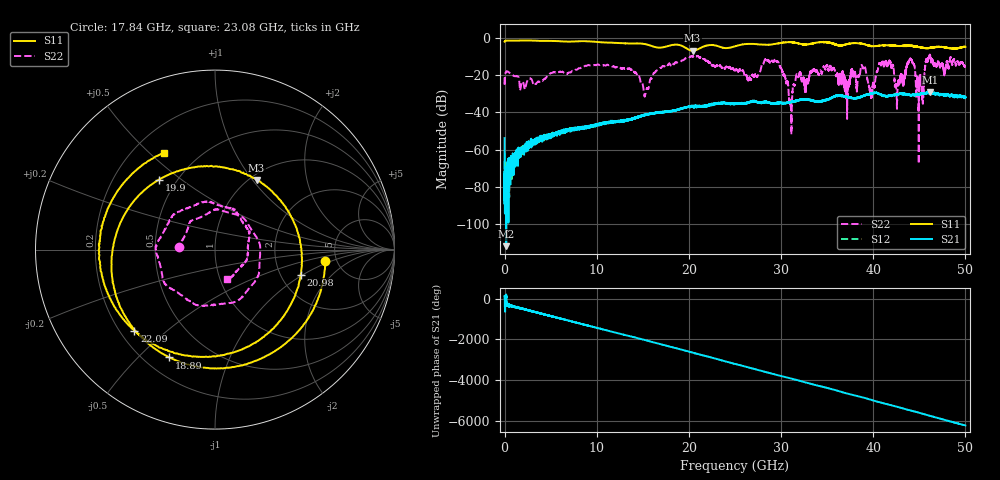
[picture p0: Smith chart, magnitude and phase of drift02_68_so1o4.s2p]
!Created with skrf (http://scikit-rf.org).
# Hz S RI R 50.0
!freq ReS11 ImS11 ReS21 ImS21 ReS12 ImS12 ReS22 ImS22
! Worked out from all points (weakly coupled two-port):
!   10001 points, 300 kHz to 50 GHz, reference 50 ohm
!   highest |S21| = -29.10 dB at 46.21 GHz (marker M1); lowest = -111.9 dB at 175.3 MHz (marker M2)
!   lowest |S11| = -6.9 dB at 20.4 GHz (marker M3), VSWR 2.65, Z = 53.8 + j52.3 ohm
!   |S11| at or under -10 dB: nowhere
!   |S22| runs from -67.7 to -8.9 dB; largest |S21 - S12| = 0.0029
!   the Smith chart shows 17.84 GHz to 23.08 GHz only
!   S11 on the Smith chart (normalised r, x): 17.84 GHz: 4.06, -0.81; 18.89 GHz: 0.30, -0.62; 19.9 GHz: 0.40, +0.42; 20.98 GHz: 2.57, -0.96; 22.09 GHz: 0.26, -0.39; 23.08 GHz: 0.32, +0.55
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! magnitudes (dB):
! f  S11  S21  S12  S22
! 300 kHz  -2.1  -53.8  -66.4  -21.3
! 175.3 MHz  -1.4  -111.9  -83.9  -18.2
! 8.335 GHz  -1.7  -48.7  -48.4  -15.7
! 15.33 GHz  -3.4  -41.4  -41.4  -29.1
! 16.67 GHz  -5.2  -40.1  -39.9  -16.9
! 17.84 GHz  -4.2  -39.5  -39.5  -13.9
! 18.89 GHz  -3.7  -38.4  -38.5  -12.6
! 19.9 GHz  -6.0  -37.0  -37.0  -10.1
! 20.4 GHz  -6.9  -37.0  -37.0  -10.0
! 20.98 GHz  -6.1  -36.6  -36.8  -9.7
! 22.09 GHz  -3.9  -36.1  -36.6  -12.8
! 23.08 GHz  -4.3  -35.1  -35.2  -15.0
! 25 GHz  -4.5  -35.2  -35.5  -17.5
! 29.5 GHz  -3.1  -35.2  -35.2  -12.6
! 31.04 GHz  -2.3  -34.6  -34.7  -34.2
! 33.34 GHz  -3.0  -33.5  -33.5  -18.1
! 38.91 GHz  -3.2  -31.2  -31.1  -16.2
! 39.73 GHz  -4.3  -30.0  -30.0  -29.9
! 41.67 GHz  -4.0  -31.1  -31.1  -12.9
! 45.15 GHz  -5.1  -30.0  -30.1  -22.0
! 46.21 GHz  -5.4  -29.1  -29.4  -9.8
! 50 GHz  -4.8  -31.7  -31.8  -16.1
